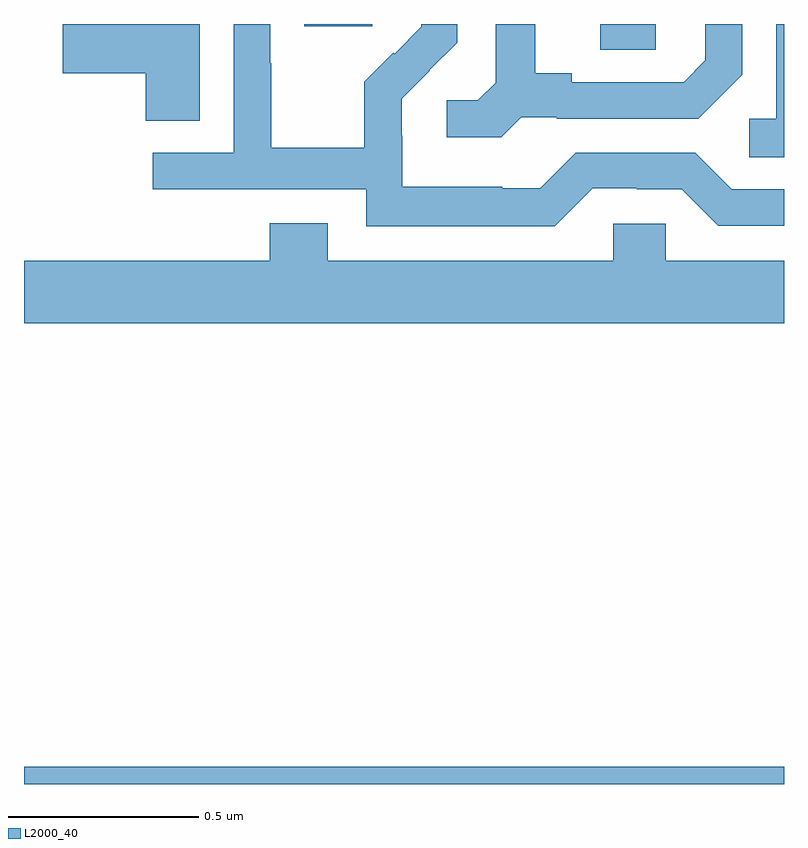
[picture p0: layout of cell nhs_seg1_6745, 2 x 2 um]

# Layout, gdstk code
import gdstk
lib = gdstk.Library(unit=1e-6, precision=1e-09)
def R(c, l, rs):  # rectangles x0, y0, x1, y1
    for r in rs: c.add(gdstk.rectangle(r[:2], r[2:], *l))
def P(c, l, *ps):  # polygons
    for p in ps: c.add(gdstk.Polygon(p, *l))
L2000_40 = (2000, 40)

nhs_seg1_6745 = lib.new_cell('nhs_seg1_6745')
R(nhs_seg1_6745, L2000_40, [(195,537.199,197,537.244), (196.517,539.131,196.662,539.199), (195.737,539.193,195.916,539.199)])
P(nhs_seg1_6745, L2000_40, [(196.308,538.953),(196.402,538.953),(196.402,538.95),(196.774,538.95),(196.89,539.066),(196.89,539.199),(196.793,539.199),(196.793,539.103),(196.736,539.046),(196.441,539.046),(196.441,539.069),(196.345,539.069),(196.345,539.199),(196.241,539.199),(196.241,539.045),(196.194,538.998),(196.113,538.998),(196.113,538.901),(196.256,538.901)],
  [(195.463,539.199),(195.102,539.199),(195.102,539.069),(195.32,539.069),(195.32,538.945),(195.463,538.945)],
  [(196.497,538.767),(196.613,538.767),(196.613,538.764),(196.731,538.764),(196.827,538.668),(197,538.668),(197,538.764),(196.863,538.764),(196.767,538.86),(196.452,538.86),(196.359,538.767),(196.259,538.767),(196.259,538.771),(195.996,538.771),(195.996,538.905),(195.994,538.905),(195.994,539.002),(196.068,539.076),(196.067,539.077),(196.14,539.15),(196.14,539.199),(196.046,539.199),(196.046,539.192),(195.975,539.121),(195.972,539.124),(195.895,539.047),(195.895,538.873),(195.651,538.873),(195.651,539.096),(195.648,539.096),(195.648,539.199),(195.552,539.199),(195.552,538.86),(195.339,538.86),(195.339,538.764),(195.9,538.764),(195.9,538.667),(196.397,538.667)],
  [(197,539.199),(196.98,539.199),(196.98,538.95),(196.908,538.95),(196.908,538.849),(197,538.849)],
  [(197,538.576),(196.689,538.576),(196.689,538.674),(196.551,538.674),(196.551,538.576),(195.799,538.576),(195.799,538.675),(195.647,538.675),(195.647,538.576),(195,538.576),(195,538.412),(197,538.412)])

lib.write_gds('nhs_seg1_6745.gds')
